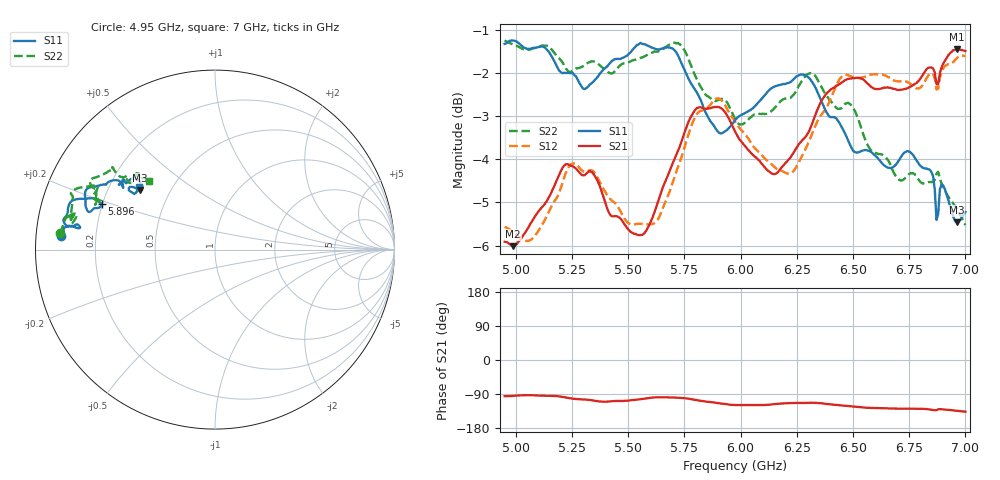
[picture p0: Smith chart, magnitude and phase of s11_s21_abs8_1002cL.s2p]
! MS46122B
! 1919307/90821646
! 5/18/2022 2:34:26 PM
! C:\USERS\PC_\DESKTOP\CARACTERIZACION\MEDICIONES\S11_S21_ABS8_1002CL.S2P
! CHANNEL.1
! TR.MEASUREMENT
! CORRECTED.DATA
# GHZ S RI R 50.0
! FREQ.GHZ  S11RE  S11IM  S21RE  S21IM  S12RE  S12IM  S22RE  S22IM
!; PortSelection: Port_12
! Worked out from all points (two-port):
!   272 points, 4.95 GHz to 7 GHz, reference 50 ohm
!   highest |S21| = -1.45 dB at 6.962 GHz (marker M1); lowest = -6.0 dB at 4.988 GHz (marker M2)
!   |S21| within 3 dB of the highest: 5.185 GHz to 5.358 GHz (173.2 MHz wide, 3.29 % of centre); 5.67 GHz to end of sweep
!   lowest |S11| = -5.5 dB at 6.962 GHz (marker M3), VSWR 3.29, Z = 16.9 + j15.6 ohm
!   |S11| at or under -10 dB: nowhere
!   |S22| runs from -5.5 to -1.2 dB; largest |S21 - S12| = 0.051
!   S11 on the Smith chart (normalised r, x): 4.95 GHz: 0.08, +0.04; 5.896 GHz: 0.20, +0.19; 7 GHz: 0.33, +0.32
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4.95  -0.856 0.0734  -0.0489 -0.504  -0.0533 -0.524  -0.8623 0.0909
4.987823  -0.8634 0.0769  -0.0408 -0.4987  -0.0493 -0.5169  -0.8474 0.1327
5.040775  -0.8457 0.0826  -0.0272 -0.5176  -0.0431 -0.5066  -0.8254 0.1851
5.169373  -0.8114 0.1302  -0.0499 -0.5839  -0.0588 -0.5602  -0.8201 0.1822
5.29797  -0.752 0.127  -0.1462 -0.5866  -0.1213 -0.5994  -0.786 0.1915
5.373616  -0.7832 0.1262  -0.1962 -0.5539  -0.1736 -0.5676  -0.7979 0.1462
5.464391  -0.8146 0.1318  -0.1687 -0.512  -0.1929 -0.5152  -0.7868 0.1988
5.524908  -0.8367 0.1438  -0.1398 -0.4979  -0.1522 -0.5079  -0.8044 0.1737
5.638376  -0.8206 0.2074  -0.0821 -0.5636  -0.086 -0.5346  -0.7915 0.2903
5.721587  -0.7855 0.2767  -0.1071 -0.6369  -0.102 -0.6102  -0.7983 0.3225
5.789668  -0.7109 0.2838  -0.177 -0.6929  -0.157 -0.6815  -0.7172 0.3506
5.895572  -0.6316 0.2552  -0.2893 -0.6655  -0.2534 -0.6979  -0.6636 0.3246
5.978782  -0.6632 0.2314  -0.3267 -0.5929  -0.3236 -0.6159  -0.6441 0.2745
6.137638  -0.7216 0.249  -0.2787 -0.5402  -0.2973 -0.5474  -0.6642 0.2733
6.319188  -0.6934 0.3469  -0.2693 -0.6411  -0.2665 -0.6222  -0.6913 0.3908
6.440221  -0.5803 0.3829  -0.3799 -0.6719  -0.3455 -0.7015  -0.5663 0.4485
6.659594  -0.5117 0.3445  -0.4694 -0.603  -0.4901 -0.6141  -0.4907 0.3912
6.856273  -0.453 0.3983  -0.5365 -0.5999  -0.534 -0.5844  -0.44 0.3995
6.871402  -0.4039 0.3534  -0.5218 -0.5684  -0.5193 -0.5558  -0.4488 0.4093
6.878967  -0.4489 0.3098  -0.496 -0.5904  -0.4965 -0.5777  -0.4385 0.4246
6.962177  -0.4177 0.3318  -0.5899 -0.6073  -0.5608 -0.6079  -0.3856 0.397
7  -0.4245 0.3467  -0.6102 -0.5814  -0.5816 -0.5944  -0.3651 0.3834
